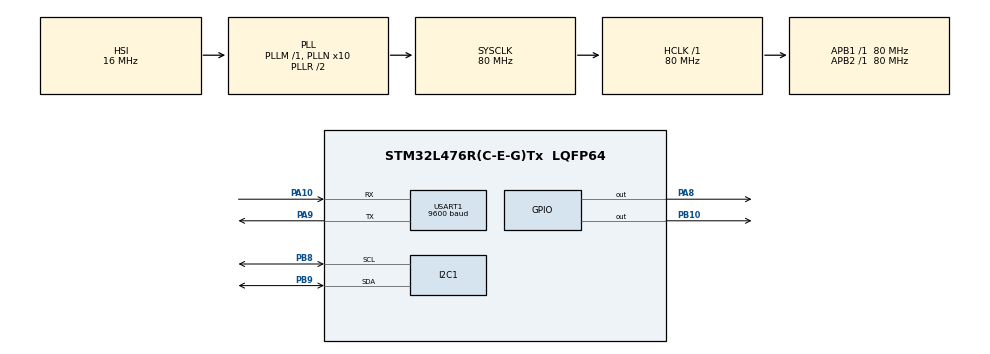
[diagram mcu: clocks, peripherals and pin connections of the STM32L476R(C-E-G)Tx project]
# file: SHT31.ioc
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I2C1.Timing=0x10909CEC
Mcu.Family=STM32L4
Mcu.Name=STM32L476R(C-E-G)Tx
Mcu.Package=LQFP64
NVIC.PriorityGroup=NVIC_PRIORITYGROUP_4
NVIC.TIM2_IRQn=true\:0\:0\:false\:false\:true\:true\:true
NVIC.USART1_IRQn=true\:0\:0\:false\:false\:true\:true\:true
PA10.GPIO_PuPd=GPIO_PULLUP
PA10.Mode=Asynchronous
PA10.Signal=USART1_RX
PA8.GPIO_PuPd=GPIO_PULLUP
PA8.Signal=GPIO_Output
PA9.Mode=Asynchronous
PA9.Signal=USART1_TX
PB10.GPIO_PuPd=GPIO_NOPULL
PB10.Signal=GPIO_Output
PB8.Mode=I2C
PB8.Signal=I2C1_SCL
PB9.Mode=I2C
PB9.Signal=I2C1_SDA
ProjectManager.HeapSize=0x200
ProjectManager.StackSize=0x400
ProjectManager.TargetToolchain=STM32CubeIDE
RCC.ADCFreq_Value=64000000
RCC.AHBFreq_Value=80000000
RCC.APB1Freq_Value=80000000
RCC.APB1TimFreq_Value=80000000
RCC.APB2Freq_Value=80000000
RCC.APB2TimFreq_Value=80000000
RCC.CortexFreq_Value=80000000
RCC.HCLKFreq_Value=80000000
RCC.HSE_VALUE=8000000
RCC.HSI_VALUE=16000000
RCC.LSE_VALUE=32768
RCC.MSI_VALUE=4000000
RCC.PLLN=10
RCC.PLLSourceVirtual=RCC_PLLSOURCE_HSI
RCC.PREFETCH_ENABLE=1
RCC.SYSCLKFreq_VALUE=80000000
RCC.SYSCLKSource=RCC_SYSCLKSOURCE_PLLCLK
RCC.USBFreq_Value=64000000
RCC.VCOOutputFreq_Value=160000000
TIM2.Period=2000
TIM2.Prescaler=8000-1
USART1.BaudRate=9600
USART1.VirtualMode-Asynchronous=VM_ASYNC
VP_TIM2_VS_ClockSourceINT.Mode=Internal
board=NUCLEO-L476RG

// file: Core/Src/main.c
/* USER CODE BEGIN Header */
/**
  ******************************************************************************
  * @file           : main.c
  * @brief          : Main program body
  ******************************************************************************
  * @attention
  *
  * <h2><center>&copy; Copyright (c) 2021 STMicroelectronics.
  * All rights reserved.</center></h2>
  *
  * This software component is licensed by ST under BSD 3-Clause license,
  * the "License"; You may not use this file except in compliance with the
  * License. You may obtain a copy of the License at:
  *                        opensource.org/licenses/BSD-3-Clause
  *
  ******************************************************************************
  */
/* USER CODE END Header */
#include "main.h"
#include "i2c.h"
#include "tim.h"
#include "usart.h"
#include "gpio.h"

/* USER CODE BEGIN Includes */
#include "lib_lcd.h"
#include <string.h>
#include <stdio.h>
#include <stdlib.h>
#include "MY_DHT22.h"
//à faire: supprimer mes deux fonctions et uliser leur transmit et leur receive pour coimmmuniquer directemdednt avec le perotable

/* USER CODE END Includes */

/* USER CODE BEGIN PTD */
static rgb_lcd lcdData;

/* USER CODE END PTD */

/* USER CODE BEGIN PV */
char buffer[100];

static const uint8_t SHT31_ADDR = 0x44 << 1; // Use 8-bit address
static const uint8_t REG_TEMP = 0x86;
static const uint8_t REG_HUM = 0x86;

/* USER CODE END PV */

void SystemClock_Config(void);

/* USER CODE BEGIN 0 */
float val, valH, temp, hum;
unsigned char data[4];

/* USER CODE END 0 */

int main(void)
{
  /* USER CODE BEGIN 1 */
//HAL_StatusTypeDef ret;
	//  uint8_t buf[12];

	//  double temp_c;*/

  /* USER CODE END 1 */

  /* MCU Configuration--------------------------------------------------------*/

  /* Reset of all peripherals, Initializes the Flash interface and the Systick. */
  HAL_Init();

  /* Configure the system clock */
  SystemClock_Config();

  /* Initialize all configured peripherals */
  MX_GPIO_Init();
  MX_I2C1_Init();
  MX_TIM2_Init();
  MX_USART1_UART_Init();
  /* USER CODE BEGIN 2 */
  HAL_I2C_Master_Transmit(&hi2c1,0x44<<1,data,2,1000);

  lcd_init(&hi2c1, &lcdData); // initialise le lcd

 HAL_I2C_Master_Transmit(&hi2c1,SHT31_ADDR,data,sizeof(data),50);
   HAL_Delay(800);
   HAL_I2C_Master_Receive(&hi2c1,SHT31_ADDR | 0x01,data,4,50);

   /* USER CODE END 2 */

   /* Infinite loop */
   /* USER CODE BEGIN WHILE */
  while (1)
  {
	//sht31
	data[0]= 0x2C;
	data[1]=0x06;
	data[2]=0x00;
	data[3]=0x00;

    HAL_I2C_Master_Transmit(&hi2c1,SHT31_ADDR,data,sizeof(data),50);
    HAL_Delay(800);
	HAL_I2C_Master_Receive(&hi2c1,SHT31_ADDR | 0x01,data,4,50);

    val = data[0]<<8 | data[1];
	valH = data[0]<<8 | data[3];
	temp = -45 +175 * ((float)val/65535);
	hum = 100 * ((float)valH/65535);

	sprintf(buffer,"La Temp en C: %u\r\n", ((unsigned int) temp));

	 lcd_position(&hi2c1,0,0);
	 lcd_print(&hi2c1, buffer);

	sprintf(buffer,"L'Humidite : %u \r\n", ((unsigned int) hum));
	lcd_position(&hi2c1,1,1);
	lcd_print(&hi2c1, buffer);
	HAL_Delay(5000);

  }
  /* USER CODE END 3 */
}

void SystemClock_Config(void)
{
  RCC_OscInitTypeDef RCC_OscInitStruct = {0};
  RCC_ClkInitTypeDef RCC_ClkInitStruct = {0};
  RCC_PeriphCLKInitTypeDef PeriphClkInit = {0};

  /** Initializes the RCC Oscillators according to the specified parameters
  * in the RCC_OscInitTypeDef structure.
  */
  RCC_OscInitStruct.OscillatorType = RCC_OSCILLATORTYPE_HSI;
  RCC_OscInitStruct.HSIState = RCC_HSI_ON;
  RCC_OscInitStruct.HSICalibrationValue = RCC_HSICALIBRATION_DEFAULT;
  RCC_OscInitStruct.PLL.PLLState = RCC_PLL_ON;
  RCC_OscInitStruct.PLL.PLLSource = RCC_PLLSOURCE_HSI;
  RCC_OscInitStruct.PLL.PLLM = 1;
  RCC_OscInitStruct.PLL.PLLN = 10;
  RCC_OscInitStruct.PLL.PLLP = RCC_PLLP_DIV7;
  RCC_OscInitStruct.PLL.PLLQ = RCC_PLLQ_DIV2;
  RCC_OscInitStruct.PLL.PLLR = RCC_PLLR_DIV2;
  if (HAL_RCC_OscConfig(&RCC_OscInitStruct) != HAL_OK)
  {
    Error_Handler();
  }
  /** Initializes the CPU, AHB and APB buses clocks
  */
  RCC_ClkInitStruct.ClockType = RCC_CLOCKTYPE_HCLK|RCC_CLOCKTYPE_SYSCLK
                              |RCC_CLOCKTYPE_PCLK1|RCC_CLOCKTYPE_PCLK2;
  RCC_ClkInitStruct.SYSCLKSource = RCC_SYSCLKSOURCE_PLLCLK;
  RCC_ClkInitStruct.AHBCLKDivider = RCC_SYSCLK_DIV1;
  RCC_ClkInitStruct.APB1CLKDivider = RCC_HCLK_DIV1;
  RCC_ClkInitStruct.APB2CLKDivider = RCC_HCLK_DIV1;

  if (HAL_RCC_ClockConfig(&RCC_ClkInitStruct, FLASH_LATENCY_4) != HAL_OK)
  {
    Error_Handler();
  }
  PeriphClkInit.PeriphClockSelection = RCC_PERIPHCLK_USART1|RCC_PERIPHCLK_I2C1;
  PeriphClkInit.Usart1ClockSelection = RCC_USART1CLKSOURCE_PCLK2;
  PeriphClkInit.I2c1ClockSelection = RCC_I2C1CLKSOURCE_PCLK1;
  if (HAL_RCCEx_PeriphCLKConfig(&PeriphClkInit) != HAL_OK)
  {
    Error_Handler();
  }
  /** Configure the main internal regulator output voltage
  */
  if (HAL_PWREx_ControlVoltageScaling(PWR_REGULATOR_VOLTAGE_SCALE1) != HAL_OK)
  {
    Error_Handler();
  }
}

void Error_Handler(void)
{
}

/************************ (C) COPYRIGHT STMicroelectronics *****END OF FILE****/
